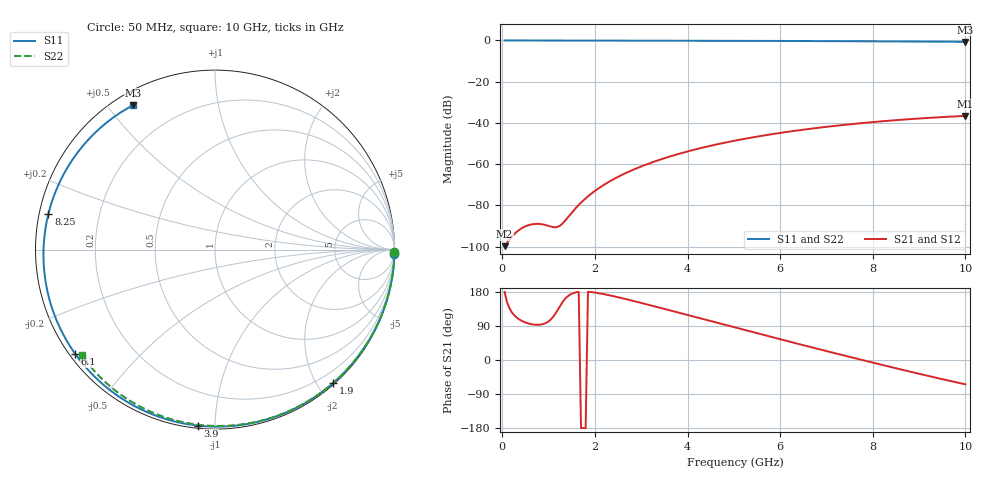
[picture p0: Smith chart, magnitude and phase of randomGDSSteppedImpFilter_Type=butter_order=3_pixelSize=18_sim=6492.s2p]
! freq	dB(S11)	phase(S11)	dB(S12)	phase(S12)
!  dB(S21)	phase(S21)	dB(S22)	phase(S22)
!S-par simulation data
#  GHz  S  DB  R 50
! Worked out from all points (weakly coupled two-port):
!   200 points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, 50 MHz to 10 GHz, reference 50 ohm
!   highest |S21| = -36.60 dB at 10 GHz (marker M1); lowest = -99.8 dB at 50 MHz (marker M2)
!   lowest |S11| = -0.7 dB at 10 GHz (marker M3), VSWR 25.60, Z = 2.62 + j29.1 ohm
!   |S11| at or under -10 dB: nowhere
!   |S22| runs from -0.5 to 0.0 dB; largest |S21 - S12| = 0
!   S11 on the Smith chart (normalised r, x): 50 MHz: 0, -87; 1.9 GHz: 0.02, -2.22; 3.9 GHz: 0.01, -0.91; 6.1 GHz: 0.02, -0.33; 8.25 GHz: 0.03, +0.11; 10 GHz: 0.05, +0.58
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0.05  -0.00 -1.3  -99.82 179.7  -99.82 179.7  -0.00 -0.8
0.8  -0.02 -20.8  -89.03 93.1  -89.03 93.1  -0.01 -13.1
1.6  -0.05 -41.1  -80.99 178.8  -80.99 178.8  -0.03 -25.9
1.65  -0.05 -42.4  -79.81 179.8  -79.81 179.8  -0.03 -26.7
1.75  -0.06 -44.9  -77.62 -179.5  -77.62 -179.5  -0.04 -28.3
1.9  -0.06 -48.6  -74.72 179.4  -74.72 179.4  -0.04 -30.6
2.2  -0.07 -55.9  -69.98 173.6  -69.98 173.6  -0.05 -35.4
2.55  -0.08 -64.4  -65.61 164.2  -65.61 164.2  -0.05 -40.8
2.95  -0.09 -73.8  -61.58 152.2  -61.58 152.2  -0.06 -46.9
3.4  -0.11 -84.3  -57.88 138.0  -57.88 138.0  -0.07 -53.7
3.9  -0.13 -95.6  -54.47 122.0  -54.47 122.0  -0.08 -61.2
4.45  -0.15 -107.7  -51.34 104.3  -51.34 104.3  -0.10 -69.1
5.05  -0.18 -120.8  -48.49 85.0  -48.49 85.0  -0.12 -77.6
6.1  -0.25 -143.3  -44.53 51.6  -44.53 51.6  -0.16 -92.0
6.7  -0.30 -156.3  -42.72 32.8  -42.72 32.8  -0.19 -100.0
7.5  -0.37 -174.3  -40.68 8.3  -40.68 8.3  -0.24 -110.3
8.25  -0.45 167.9  -39.12 -14.4  -39.12 -14.4  -0.30 -119.8
8.35  -0.46 165.5  -38.94 -17.3  -38.94 -17.3  -0.31 -121.1
8.8  -0.52 153.9  -38.17 -30.6  -38.17 -30.6  -0.35 -126.7
9.2  -0.57 143.1  -37.57 -42.1  -37.57 -42.1  -0.39 -131.7
9.6  -0.62 131.7  -37.05 -53.3  -37.05 -53.3  -0.43 -136.7
10  -0.68 119.5  -36.60 -64.1  -36.60 -64.1  -0.48 -141.7
